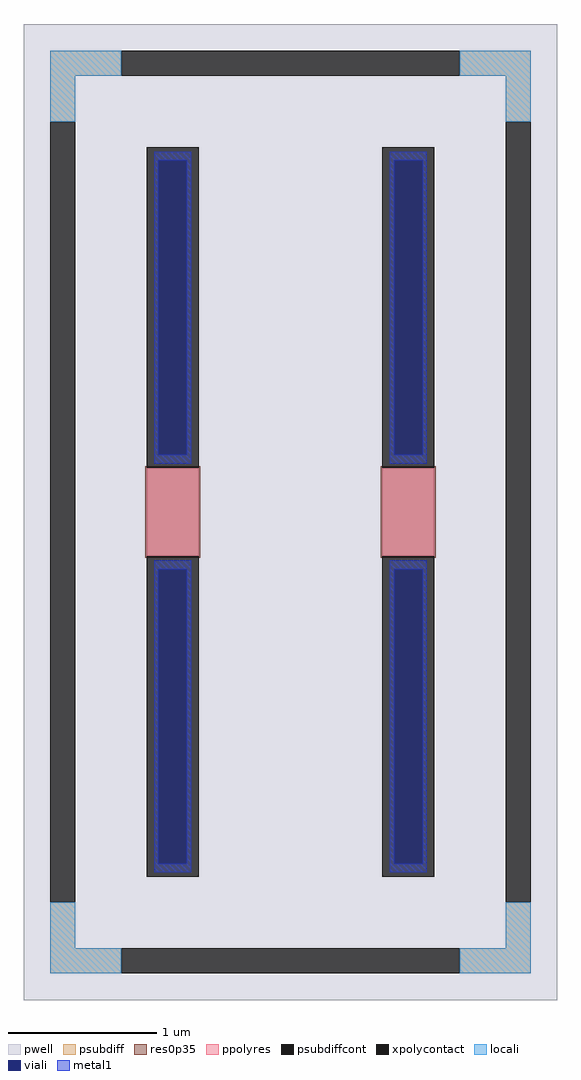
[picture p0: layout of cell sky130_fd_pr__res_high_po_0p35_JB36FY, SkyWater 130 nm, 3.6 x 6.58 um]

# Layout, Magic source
magic
tech sky130B
magscale 1 2
<< pwell >>
rect -360 -658 360 658
<< psubdiff >>
rect -324 588 -228 622
rect 228 588 324 622
rect -324 526 -290 588
rect 290 526 324 588
rect -324 -588 -290 -526
rect 290 -588 324 -526
rect -324 -622 -228 -588
rect 228 -622 324 -588
<< psubdiffcont >>
rect -228 588 228 622
rect -324 -526 -290 526
rect 290 -526 324 526
rect -228 -622 228 -588
<< xpolycontact >>
rect -194 60 -124 492
rect -194 -492 -124 -60
rect 124 60 194 492
rect 124 -492 194 -60
<< ppolyres >>
rect -194 -60 -124 60
rect 124 -60 194 60
<< locali >>
rect -324 588 -228 622
rect 228 588 324 622
rect -324 526 -290 588
rect 290 526 324 588
rect -324 -588 -290 -526
rect 290 -588 324 -526
rect -324 -622 -228 -588
rect 228 -622 324 -588
<< viali >>
rect -178 77 -140 474
rect 140 77 178 474
rect -178 -474 -140 -77
rect 140 -474 178 -77
<< metal1 >>
rect -184 474 -134 486
rect -184 77 -178 474
rect -140 77 -134 474
rect -184 65 -134 77
rect 134 474 184 486
rect 134 77 140 474
rect 178 77 184 474
rect 134 65 184 77
rect -184 -77 -134 -65
rect -184 -474 -178 -77
rect -140 -474 -134 -77
rect -184 -486 -134 -474
rect 134 -77 184 -65
rect 134 -474 140 -77
rect 178 -474 184 -77
rect 134 -486 184 -474
<< res0p35 >>
rect -196 -62 -122 62
rect 122 -62 196 62
<< properties >>
string FIXED_BBOX -307 -605 307 605
string gencell sky130_fd_pr__res_high_po_0p35
string library sky130
string parameters w 0.350 l 0.6 m 1 nx 2 wmin 0.350 lmin 0.50 rho 319.8 val 1.661k dummy 0 dw 0.0 term 194.82 sterm 0.0 caplen 0 guard 1 glc 1 grc 1 gtc 1 gbc 1 compatible {sky130_fd_pr__res_high_po_0p35  sky130_fd_pr__res_high_po_0p69 sky130_fd_pr__res_high_po_1p41  sky130_fd_pr__res_high_po_2p85 sky130_fd_pr__res_high_po_5p73} full_metal 1 wmax 0.350 vias 1 n_guard 0 hv_guard 0 viagb 0 viagt 0 viagl 0 viagr 0
<< end >>
